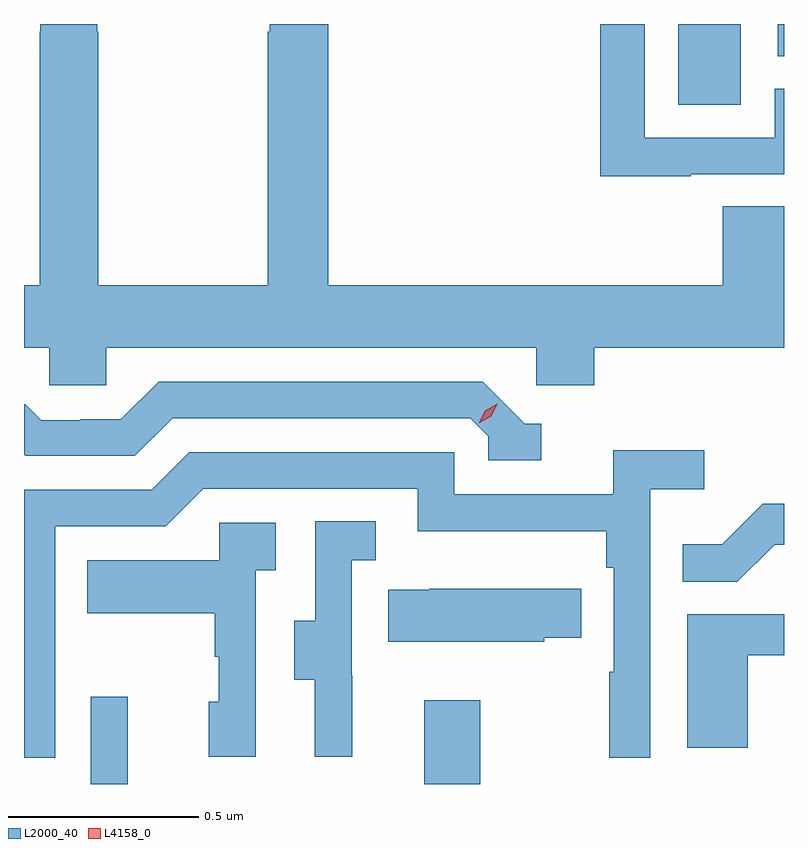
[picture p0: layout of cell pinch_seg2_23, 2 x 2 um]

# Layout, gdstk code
import gdstk
lib = gdstk.Library(unit=1e-6, precision=1e-09)
def R(c, l, rs):  # rectangles x0, y0, x1, y1
    for r in rs: c.add(gdstk.rectangle(r[:2], r[2:], *l))
def P(c, l, *ps):  # polygons
    for p in ps: c.add(gdstk.Polygon(p, *l))
L2000_40 = (2000, 40)
L4158_0 = (4158, 0)

pinch_seg2_23 = lib.new_cell('pinch_seg2_23')
R(pinch_seg2_23, L2000_40, [(1082.409,654.48,1082.507,654.709), (1083.287,654.48,1083.435,654.7), (1083.956,656.268,1084.12,656.48), (1084.218,656.395,1084.234,656.48)])
P(pinch_seg2_23, L2000_40, [(1082.451,655.628),(1083.582,655.628),(1083.582,655.53),(1083.734,655.53),(1083.734,655.628),(1084.234,655.628),(1084.234,656),(1084.073,656),(1084.073,655.792),(1083.035,655.792),(1083.035,656.48),(1082.881,656.48),(1082.881,656.459),(1082.875,656.459),(1082.875,655.792),(1082.43,655.792),(1082.43,656.459),(1082.427,656.459),(1082.427,656.48),(1082.277,656.48),(1082.277,656.459),(1082.275,656.459),(1082.275,655.792),(1082.234,655.792),(1082.234,655.628),(1082.301,655.628),(1082.301,655.53),(1082.451,655.53)],
  [(1083.989,656.085),(1084.234,656.085),(1084.234,656.31),(1084.209,656.31),(1084.209,656.181),(1083.867,656.181),(1083.867,656.48),(1083.751,656.48),(1083.751,656.08),(1083.989,656.08)],
  [(1083.595,655.428),(1083.552,655.428),(1083.441,655.539),(1082.588,655.539),(1082.489,655.44),(1082.382,655.44),(1082.382,655.437),(1082.279,655.437),(1082.237,655.48),(1082.234,655.48),(1082.234,655.347),(1082.237,655.344),(1082.526,655.344),(1082.625,655.443),(1083.408,655.443),(1083.456,655.395),(1083.456,655.332),(1083.595,655.332)],
  [(1082.316,655.158),(1082.607,655.158),(1082.706,655.257),(1083.27,655.257),(1083.27,655.145),(1083.766,655.145),(1083.766,655.049),(1083.786,655.049),(1083.786,654.776),(1083.774,654.776),(1083.774,654.549),(1083.882,654.549),(1083.882,655.256),(1084.024,655.256),(1084.024,655.358),(1083.785,655.358),(1083.785,655.242),(1083.366,655.242),(1083.366,655.353),(1082.669,655.353),(1082.57,655.254),(1082.234,655.254),(1082.234,654.549),(1082.316,654.549)],
  [(1084.209,655.11),(1084.234,655.11),(1084.234,655.218),(1084.178,655.218),(1084.071,655.111),(1083.967,655.111),(1083.967,655.012),(1084.111,655.012)],
  [(1083.098,654.765),(1083.096,654.765),(1083.096,655.069),(1083.16,655.069),(1083.16,655.172),(1083,655.172),(1083,654.909),(1082.945,654.909),(1082.945,654.754),(1082.999,654.754),(1082.999,654.552),(1083.098,654.552)],
  [(1082.844,655.043),(1082.896,655.043),(1082.896,655.167),(1082.748,655.167),(1082.748,655.069),(1082.401,655.069),(1082.401,654.929),(1082.736,654.929),(1082.736,654.815),(1082.746,654.815),(1082.746,654.696),(1082.72,654.696),(1082.72,654.552),(1082.844,654.552)],
  [(1083.603,654.865),(1083.701,654.865),(1083.701,654.994),(1083.301,654.994),(1083.301,654.991),(1083.193,654.991),(1083.193,654.854),(1083.603,654.854)],
  [(1084.138,654.819),(1084.234,654.819),(1084.234,654.927),(1083.98,654.927),(1083.98,654.576),(1084.138,654.576)])
P(pinch_seg2_23, L4158_0, [(1083.431,655.429),(1083.431,655.43),(1083.448,655.462),(1083.479,655.481),(1083.479,655.481),(1083.479,655.481),(1083.463,655.448),(1083.431,655.429)])

lib.write_gds('pinch_seg2_23.gds')
